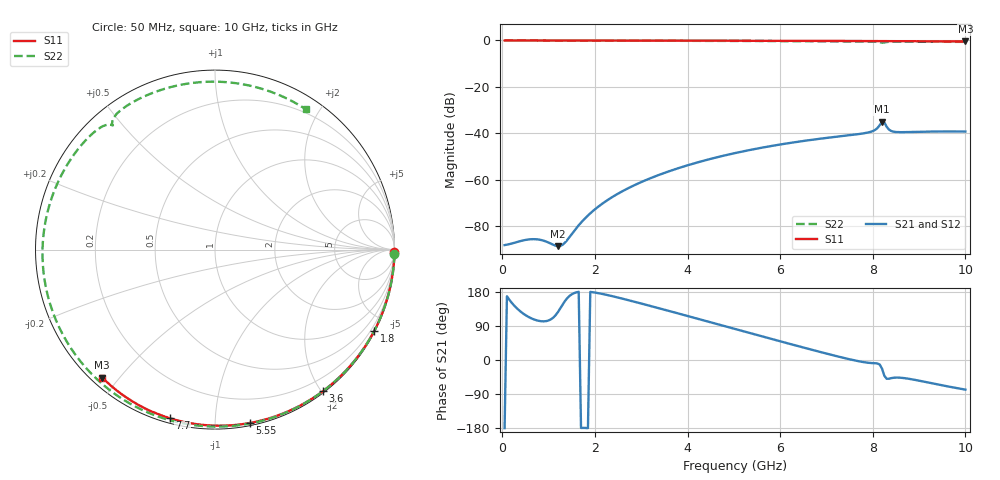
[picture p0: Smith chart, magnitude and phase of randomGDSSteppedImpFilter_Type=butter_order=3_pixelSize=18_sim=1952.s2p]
! freq	dB(S11)	phase(S11)	dB(S12)	phase(S12)
!  dB(S21)	phase(S21)	dB(S22)	phase(S22)
!S-par simulation data
#  GHz  S  DB  R 50
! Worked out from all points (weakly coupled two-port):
!   200 points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, 50 MHz to 10 GHz, reference 50 ohm
!   highest |S21| = -35.04 dB at 8.2 GHz (marker M1); lowest = -88.8 dB at 1.2 GHz (marker M2)
!   lowest |S11| = -0.4 dB at 10 GHz (marker M3), VSWR 39.19, Z = 1.54 - j22.6 ohm
!   |S11| at or under -10 dB: nowhere
!   |S22| runs from -1.0 to 0.0 dB; largest |S21 - S12| = 0
!   S11 on the Smith chart (normalised r, x): 50 MHz: open; 1.8 GHz: 0.04, -4.17; 3.6 GHz: 0.02, -2.02; 5.55 GHz: 0.02, -1.22; 7.7 GHz: 0.02, -0.77; 10 GHz: 0.03, -0.45
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0.05  -0.00 -0.8  -88.29 -179.8  -88.29 -179.8  -0.00 -1.4
1.2  -0.02 -18.1  -88.75 126.2  -88.75 126.2  -0.04 -33.5
1.6  -0.03 -24.0  -80.94 178.6  -80.94 178.6  -0.06 -44.4
1.75  -0.03 -26.2  -77.51 -179.1  -77.51 -179.1  -0.06 -48.5
1.8  -0.03 -27.0  -76.48 -179.3  -76.48 -179.3  -0.06 -49.8
2.45  -0.05 -36.4  -66.66 166.3  -66.66 166.3  -0.09 -67.2
3.4  -0.07 -49.9  -57.88 136.0  -57.88 136.0  -0.12 -92.1
3.6  -0.07 -52.7  -56.44 129.4  -56.44 129.4  -0.13 -97.2
4.3  -0.09 -62.3  -52.14 106.2  -52.14 106.2  -0.17 -115.3
5.05  -0.11 -72.3  -48.48 81.1  -48.48 81.1  -0.21 -134.7
5.55  -0.13 -78.7  -46.47 64.3  -46.47 64.3  -0.25 -148.0
6.7  -0.18 -93.1  -42.82 26.5  -42.82 26.5  -0.35 179.4
7.2  -0.21 -99.1  -41.57 10.7  -41.57 10.7  -0.40 163.9
7.7  -0.24 -105.1  -40.38 -3.4  -40.38 -3.4  -0.46 147.3
8.05  -0.27 -109.2  -38.60 -8.6  -38.60 -8.6  -0.57 134.4
8.2  -0.28 -110.9  -35.04 -23.0  -35.04 -23.0  -0.95 129.4
8.25  -0.28 -111.4  -35.37 -41.6  -35.37 -41.6  -0.90 129.6
8.35  -0.28 -112.6  -38.46 -49.4  -38.46 -49.4  -0.59 125.8
8.75  -0.32 -117.3  -39.53 -49.0  -39.53 -49.0  -0.54 109.4
9.2  -0.36 -122.4  -39.33 -59.5  -39.33 -59.5  -0.58 91.0
9.6  -0.40 -126.9  -39.25 -69.3  -39.25 -69.3  -0.60 74.2
10  -0.44 -131.4  -39.29 -78.2  -39.29 -78.2  -0.62 57.1
